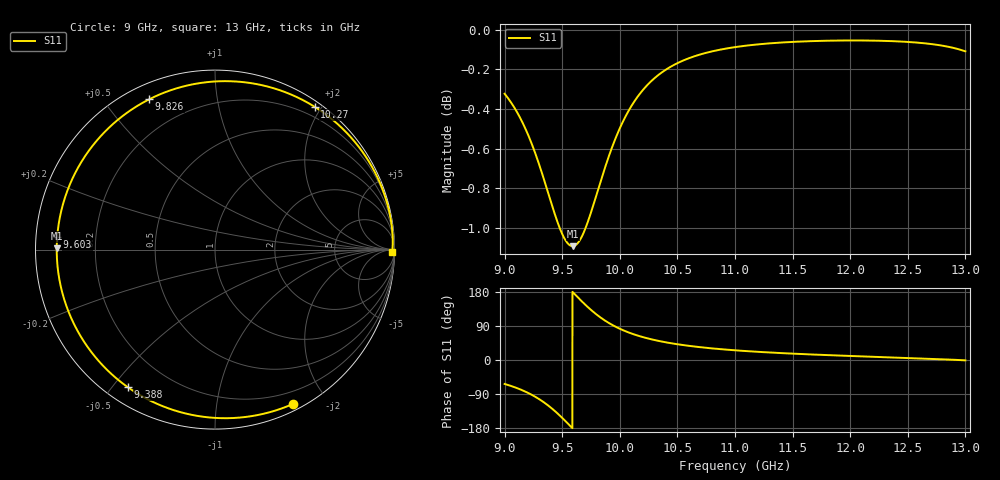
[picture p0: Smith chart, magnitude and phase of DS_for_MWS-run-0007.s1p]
! TOUCHSTONE file generated by CST DESIGN STUDIO
! Date and time: Tue Feb  4 17:06:50 2025
! Project name: C:\Work\MatlabApps\UnitCellOptimizationMatlab\CST\unitcell.cst
! Tree item: Tasks\Sweep1\SPara1\S-Parameters
! Header version: 2024
! Port assignment regex: !\s*Touchstone port\s*([0-9]+)\s*=\s*(CST MWS port|CST DES external port|CST DES block port)\s*(.+)\s* \(\"(.*)\"\)(\s*mode\s*([0-9]+))?.*
! Touchstone port assignment:
! Touchstone port 1 = CST DES external port 1 ("")
# GHz S MA R 50
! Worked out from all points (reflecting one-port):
!   4001 points, 9 GHz to 13 GHz, reference 50 ohm
!   lowest |S11| = -1.1 dB at 9.59 GHz (marker M1), VSWR 15.93, Z = 3.14 + j0.185 ohm
!   phase of S11 starts at -63 deg and turns -298 deg over the sweep
!   S11 on the Smith chart (normalised r, x): 9 GHz: 0.07, -1.62; 9.388 GHz: 0.06, -0.55; 9.603 GHz: 0.06, +0.04; 9.826 GHz: 0.06, +0.65; 10.27 GHz: 0.07, +1.91; 13 GHz: 59, -77
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9  0.9634 -63.2
9.048  0.9593 -67.7
9.117  0.9522 -75.3
9.236  0.9358 -91.9
9.317  0.9215 -106.7
9.388  0.9076 -122.4
9.443  0.8971 -136.5
9.5  0.8881 -152.7
9.546  0.8834 -166.7
9.59  0.8819 179.6
9.603  0.882 175.5
9.659  0.8855 158.1
9.721  0.8942 140.0
9.773  0.9037 126.2
9.826  0.9142 113.6
9.905  0.9291 97.7
10  0.9443 82.4
10.061  0.9522 74.5
10.125  0.959 67.4
10.267  0.9702 55.1
10.376  0.976 48.0
10.5  0.9807 41.6
10.72  0.9861 33.1
11  0.9899 25.6
11.5  0.9929 16.8
12  0.9937 10.7
12.5  0.9929 5.4
13  0.9875 -0.9
